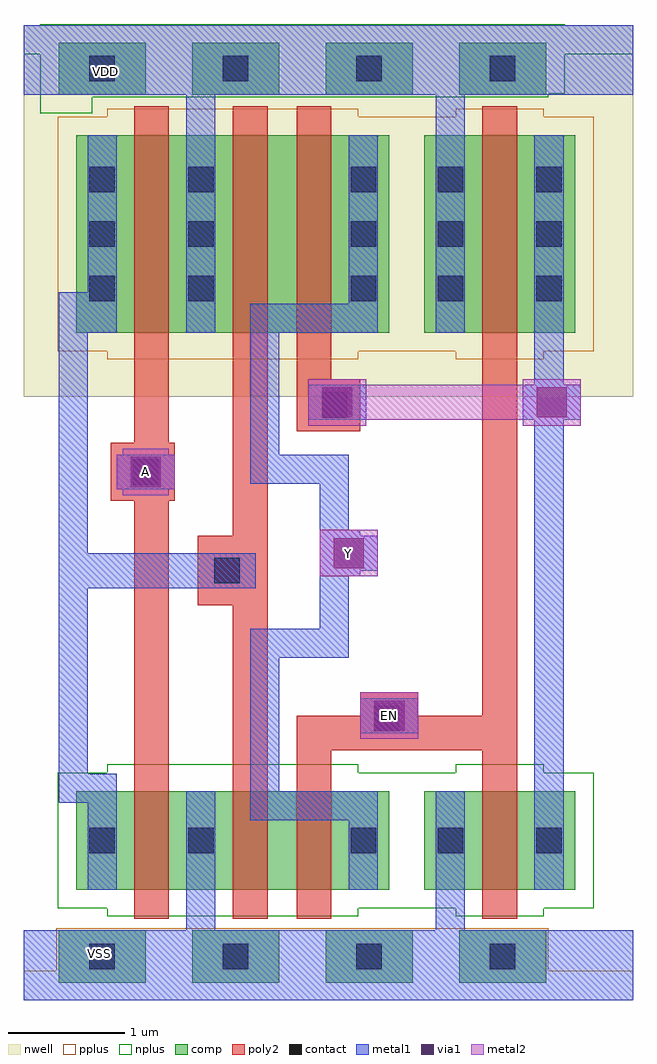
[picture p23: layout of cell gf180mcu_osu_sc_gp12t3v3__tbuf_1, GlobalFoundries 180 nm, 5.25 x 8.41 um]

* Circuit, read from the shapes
.subckt gf180mcu_osu_sc_gp12t3v3__tbuf_1 A EN VDD VSS Y
XM1 VSS A n1 VSS nfet_03v3 w=0.85u l=0.3u
XM2 n2 n1 VSS VSS nfet_03v3 w=0.85u l=0.3u
XM3 Y EN n2 VSS nfet_03v3 w=0.85u l=0.3u
XM4 n3 EN VSS VSS nfet_03v3 w=0.85u l=0.3u
XM5 VDD A n1 VDD pfet_03v3 w=1.7u l=0.3u
XM6 n4 n1 VDD VDD pfet_03v3 w=1.7u l=0.3u
XM7 Y n3 n4 VDD pfet_03v3 w=1.7u l=0.3u
XM8 n3 EN VDD VDD pfet_03v3 w=1.7u l=0.3u
.ends

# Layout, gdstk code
import gdstk
lib = gdstk.Library(unit=1e-6, precision=1e-09)
def R(c, l, rs):  # rectangles x0, y0, x1, y1
    for r in rs: c.add(gdstk.rectangle(r[:2], r[2:], *l))
def A(c, l, x, y, w, h, nx, ny, dx, dy):  # array of equal rectangles
    R(c, l, [(x+i*dx, y+j*dy, x+i*dx+w, y+j*dy+h) for i in range(nx) for j in range(ny)])
nwell = (21, 0)
comp = (22, 0)
poly2 = (30, 0)
pplus = (31, 0)
nplus = (32, 0)
contact = (33, 0)
metal1 = (34, 0)
via1 = (35, 0)
metal2 = (36, 0)

gf180mcu_osu_sc_gp12t3v3 = lib.new_cell('gf180mcu_osu_sc_gp12t3v3__tbuf_1')
R(gf180mcu_osu_sc_gp12t3v3, nwell, [(0,5.2,5.25,8.4)])
A(gf180mcu_osu_sc_gp12t3v3, comp, 0.3, 0.15, 0.75, 0.45, 4, 2, 1.15, 7.65)
R(gf180mcu_osu_sc_gp12t3v3, comp, [(0.45,0.95,3.15,1.8), (3.45,0.95,4.75,1.8), (0.45,5.75,3.15,7.45), (3.45,5.75,4.75,7.45)])
R(gf180mcu_osu_sc_gp12t3v3, poly2, [(0.95,0.7,1.25,4.3), (1.8,0.7,2.1,3.4), (2.35,0.7,2.65,2.15), (3.95,0.7,4.25,2.15), (2.35,2.15,4.25,2.45), (2.9,2.45,3.4,2.65), (3.95,2.45,4.25,7.7), (1.5,3.4,2.1,4), (1.8,4,2.1,7.7), (0.75,4.3,1.3,4.8), (0.95,4.8,1.25,7.7), (2.35,4.9,2.9,5.35), (2.35,5.35,2.65,7.7)])
R(gf180mcu_osu_sc_gp12t3v3, pplus, [(0,0,5.25,0.25), (0.28,0.13,4.52,0.62), (0.72,5.52,2.88,5.59), (3.72,5.52,4.48,5.59), (0.29,5.59,4.91,7.61), (0.72,7.61,2.88,7.68), (3.72,7.61,4.48,7.68)])
R(gf180mcu_osu_sc_gp12t3v3, nplus, [(0.72,0.72,2.88,0.79), (3.72,0.72,4.48,0.79), (0.29,0.79,4.91,1.96), (0.72,1.96,2.88,2.03), (3.72,1.96,4.48,2.03), (0.14,7.64,0.59,7.78), (0.14,7.78,4.52,7.81), (0.14,7.81,4.66,8.15), (0,8.15,5.25,8.4), (0,8.15,5.25,8.4), (0.14,8.4,4.66,8.41)])
A(gf180mcu_osu_sc_gp12t3v3, contact, 0.565, 0.265, 0.22, 0.22, 4, 2, 1.15, 7.65)
A(gf180mcu_osu_sc_gp12t3v3, contact, 0.565, 6.02, 0.22, 0.22, 1, 3, 0, 0.47)
A(gf180mcu_osu_sc_gp12t3v3, contact, 1.415, 6.02, 0.22, 0.22, 1, 3, 0, 0.47)
A(gf180mcu_osu_sc_gp12t3v3, contact, 2.815, 6.02, 0.22, 0.22, 1, 3, 0, 0.47)
A(gf180mcu_osu_sc_gp12t3v3, contact, 3.565, 6.02, 0.22, 0.22, 1, 3, 0, 0.47)
A(gf180mcu_osu_sc_gp12t3v3, contact, 4.415, 6.02, 0.22, 0.22, 1, 3, 0, 0.47)
R(gf180mcu_osu_sc_gp12t3v3, contact, [(0.565,1.265,0.785,1.485), (1.415,1.265,1.635,1.485), (2.815,1.265,3.035,1.485), (3.565,1.265,3.785,1.485), (4.415,1.265,4.635,1.485), (3.015,2.315,3.235,2.535), (1.64,3.59,1.86,3.81), (0.94,4.44,1.16,4.66), (2.565,5.015,2.785,5.235)])
R(gf180mcu_osu_sc_gp12t3v3, metal1, [(0,0,5.25,0.6), (1.4,0.6,1.65,1.8), (3.55,0.6,3.8,1.8), (0.55,0.95,0.8,1.7), (2.8,0.95,3.05,1.55), (4.4,0.95,4.65,5), (1.95,1.55,3.05,1.8), (0.3,1.7,0.8,1.95), (1.95,1.8,2.2,2.95), (0.3,1.95,0.55,3.55), (2.9,2.3,3.4,2.6), (1.95,2.95,2.8,3.2), (2.55,3.2,2.8,3.65), (0.3,3.55,2,3.85), (2.55,3.65,2.9,3.7), (2.55,3.7,3.05,4), (0.3,3.85,0.55,5.75), (2.55,4,2.9,4.05), (2.55,4.05,2.8,4.45), (0.8,4.4,1.3,4.7), (1.95,4.45,2.8,4.7), (1.95,4.7,2.2,5.75), (2.45,5,2.95,5.3), (4.3,5,4.8,5.3), (4.4,5.3,4.65,7.45), (0.3,5.75,0.8,6.1), (1.4,5.75,1.65,7.8), (1.95,5.75,3.05,6), (3.55,5.75,3.8,7.8), (2.8,6,3.05,7.45), (0.55,6.1,0.8,7.45), (0,7.8,5.25,8.4)])
R(gf180mcu_osu_sc_gp12t3v3, via1, [(3.02,2.32,3.28,2.58), (2.67,3.72,2.93,3.98), (0.92,4.42,1.18,4.68), (2.57,5.02,2.83,5.28), (4.42,5.02,4.68,5.28)])
R(gf180mcu_osu_sc_gp12t3v3, metal2, [(2.9,2.25,3.4,2.65), (2.55,3.65,3.05,4.05), (0.85,4.35,1.25,4.4), (0.8,4.4,1.3,4.7), (0.85,4.7,1.25,4.75), (2.45,4.95,2.95,5), (4.3,4.95,4.8,5), (2.45,5,4.8,5.3), (2.45,5.3,2.95,5.35), (4.3,5.3,4.8,5.35)])
gf180mcu_osu_sc_gp12t3v3.add(gdstk.Label('A', (1.05,4.55), layer=36, texttype=10))
gf180mcu_osu_sc_gp12t3v3.add(gdstk.Label('EN', (3.15,2.45), layer=36, texttype=10))
gf180mcu_osu_sc_gp12t3v3.add(gdstk.Label('Y', (2.8,3.85), layer=36, texttype=10))
gf180mcu_osu_sc_gp12t3v3.add(gdstk.Label('VDD', (0.7,8), layer=34, texttype=10))
gf180mcu_osu_sc_gp12t3v3.add(gdstk.Label('VSS', (0.65,0.4), layer=34, texttype=10))

lib.write_gds('gf180mcu_osu_sc_gp12t3v3__tbuf_1.gds')
